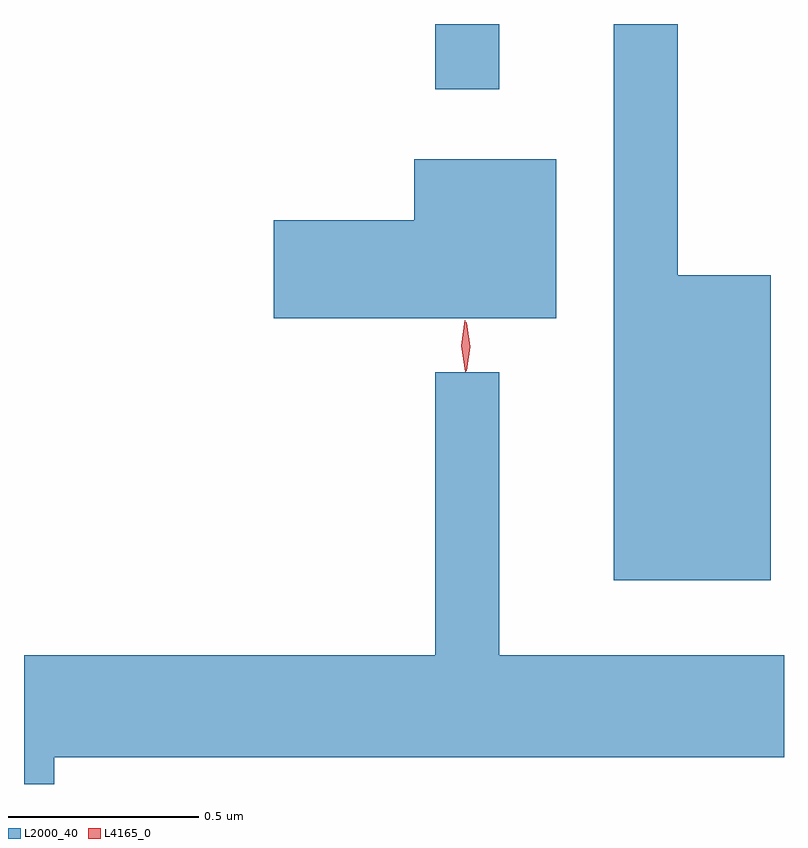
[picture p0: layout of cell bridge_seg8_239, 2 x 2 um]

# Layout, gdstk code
import gdstk
lib = gdstk.Library(unit=1e-6, precision=1e-09)
def R(c, l, rs):  # rectangles x0, y0, x1, y1
    for r in rs: c.add(gdstk.rectangle(r[:2], r[2:], *l))
def P(c, l, *ps):  # polygons
    for p in ps: c.add(gdstk.Polygon(p, *l))
L2000_40 = (2000, 40)
L4165_0 = (4165, 0)

bridge_seg8_239 = lib.new_cell('bridge_seg8_239')
R(bridge_seg8_239, L2000_40, [(1201.401,1849.273,1201.569,1849.445)])
P(bridge_seg8_239, L2000_40, [(1202.284,1848.784),(1202.039,1848.784),(1202.039,1849.445),(1201.871,1849.445),(1201.871,1847.981),(1202.284,1847.981)],
  [(1201.719,1849.089),(1201.346,1849.089),(1201.346,1848.929),(1200.976,1848.929),(1200.976,1848.671),(1201.719,1848.671)],
  [(1200.399,1847.516),(1202.319,1847.516),(1202.319,1847.784),(1201.569,1847.784),(1201.569,1848.528),(1201.401,1848.528),(1201.401,1847.784),(1200.319,1847.784),(1200.319,1847.445),(1200.399,1847.445)])
P(bridge_seg8_239, L4165_0, [(1201.482,1848.533),(1201.473,1848.596),(1201.482,1848.659),(1201.483,1848.66),(1201.484,1848.659),(1201.493,1848.596),(1201.484,1848.533),(1201.483,1848.533)],
  [(1201.48,1848.53),(1201.48,1848.53),(1201.47,1848.598),(1201.479,1848.665),(1201.479,1848.666),(1201.48,1848.665),(1201.49,1848.598),(1201.481,1848.53)])

lib.write_gds('bridge_seg8_239.gds')
